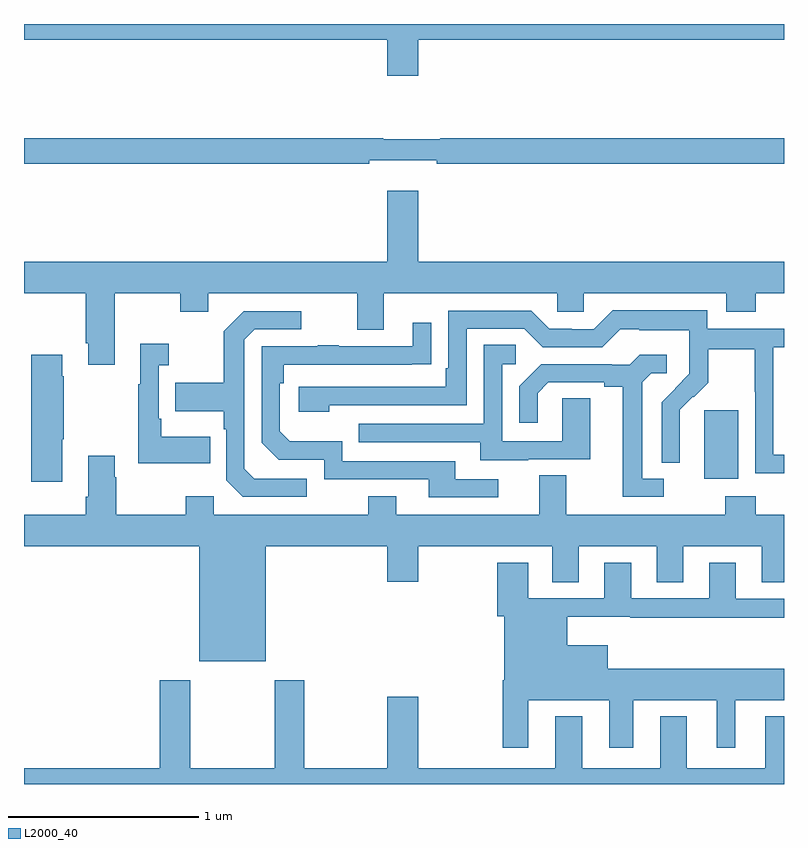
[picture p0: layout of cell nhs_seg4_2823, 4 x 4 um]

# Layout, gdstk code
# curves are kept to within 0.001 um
import gdstk
lib = gdstk.Library(unit=1e-6, precision=1e-09)
def R(c, l, rs):  # rectangles x0, y0, x1, y1
    for r in rs: c.add(gdstk.rectangle(r[:2], r[2:], *l))
def P(c, l, *ps):  # polygons
    for p in ps: c.add(gdstk.Polygon(p, *l))
L2000_40 = (2000, 40)

nhs_seg4_2823 = lib.new_cell('nhs_seg4_2823')
R(nhs_seg4_2823, L2000_40, [(262.58,798.506,262.759,798.867)])
P(nhs_seg4_2823, L2000_40, [(261.076,800.816),(263,800.816),(263,800.9),(259,800.9),(259,800.816),(260.912,800.816),(260.912,800.628),(261.076,800.628)],
  [(260.816,800.183),(261.172,800.183),(261.172,800.164),(263,800.164),(263,800.3),(261.19,800.3),(261.19,800.293),(260.89,800.293),(260.89,800.3),(259,800.3),(259,800.164),(260.816,800.164)],
  [(259.477,799.484),(259.822,799.484),(259.822,799.385),(259.969,799.385),(259.969,799.484),(260.753,799.484),(260.753,799.29),(260.893,799.29),(260.893,799.484),(261.807,799.484),(261.807,799.386),(261.945,799.386),(261.945,799.484),(262.697,799.484),(262.697,799.385),(262.85,799.385),(262.85,799.484),(263,799.484),(263,799.648),(261.076,799.648),(261.076,800.023),(260.912,800.023),(260.912,799.648),(259,799.648),(259,799.484),(259.325,799.484),(259.325,799.219),(259.337,799.219),(259.337,799.107),(259.477,799.107)],
  [(263,798.633),(262.944,798.633),(262.944,799.2),(263,799.2),(263,799.296),(262.596,799.296),(262.596,799.393),(262.099,799.393),(261.999,799.293),(261.884,799.293),(261.884,799.296),(261.765,799.296),(261.669,799.392),(261.234,799.392),(261.234,799.087),(261.221,799.087),(261.221,798.99),(260.445,798.99),(260.445,798.86),(260.606,798.86),(260.606,798.894),(261.33,798.894),(261.33,799.296),(261.633,799.296),(261.729,799.2),(262.044,799.2),(262.137,799.293),(262.237,799.293),(262.237,799.289),(262.5,799.289),(262.5,799.155),(262.502,799.155),(262.502,799.058),(262.356,798.91),(262.356,798.592),(262.452,798.592),(262.451,798.869),(262.521,798.939),(262.524,798.936),(262.601,799.013),(262.601,799.188),(262.846,799.188),(262.846,798.964),(262.848,798.964),(262.848,798.535),(263,798.535)],
  [(260.488,798.507),(260.211,798.507),(260.16,798.558),(260.16,799.239),(260.214,799.293),(260.458,799.293),(260.458,799.389),(260.157,799.389),(260.052,799.283),(260.052,799.011),(259.795,799.011),(259.795,798.863),(260.052,798.863),(260.052,798.767),(260.064,798.767),(260.064,798.498),(260.151,798.411),(260.488,798.411)],
  [(261.496,798.504),(261.271,798.504),(261.271,798.6),(260.676,798.6),(260.676,798.703),(260.399,798.703),(260.346,798.756),(260.346,799.01),(260.366,799.01),(260.366,799.107),(261.143,799.108),(261.143,799.327),(261.047,799.327),(261.047,799.203),(260.657,799.203),(260.657,799.208),(260.545,799.208),(260.545,799.203),(260.25,799.203),(260.25,798.696),(260.34,798.606),(260.58,798.606),(260.58,798.504),(261.131,798.504),(261.131,798.408),(261.496,798.408)],
  [(259.979,798.727),(259.723,798.727),(259.723,798.823),(259.71,798.823),(259.71,799.103),(259.762,799.103),(259.762,799.216),(259.613,799.216),(259.613,799.003),(259.602,799.003),(259.602,798.587),(259.979,798.587)],
  [(261.655,798.609),(261.979,798.609),(261.979,798.929),(261.834,798.929),(261.834,798.705),(261.516,798.705),(261.516,799.11),(261.589,799.11),(261.589,799.211),(261.42,799.211),(261.42,798.795),(260.761,798.795),(260.761,798.699),(261.401,798.699),(261.401,798.605),(261.655,798.605)],
  [(262.366,798.507),(262.255,798.507),(262.255,799.015),(262.302,799.062),(262.384,799.062),(262.384,799.159),(262.24,799.159),(262.188,799.107),(262.094,799.107),(262.094,799.11),(261.722,799.11),(261.606,798.994),(261.606,798.801),(261.703,798.801),(261.703,798.957),(261.76,799.014),(262.055,799.014),(262.055,798.992),(262.151,798.992),(262.151,798.411),(262.366,798.411)],
  [(259.201,798.715),(259.209,798.715),(259.209,799.046),(259.201,799.046),(259.201,799.159),(259.039,799.159),(259.039,798.492),(259.201,798.492)],
  [(260.272,798.152),(260.912,798.152),(260.912,797.964),(261.076,797.964),(261.076,798.152),(261.779,798.152),(261.779,797.962),(261.919,797.962),(261.919,798.152),(262.331,798.152),(262.331,797.962),(262.471,797.962),(262.471,798.152),(262.883,798.152),(262.883,797.962),(263,797.962),(263,798.316),(262.85,798.316),(262.85,798.415),(262.69,798.415),(262.69,798.316),(261.853,798.316),(261.853,798.524),(261.713,798.524),(261.713,798.316),(260.959,798.316),(260.959,798.415),(260.812,798.415),(260.812,798.316),(259.998,798.316),(259.998,798.415),(259.852,798.415),(259.852,798.316),(259.485,798.316),(259.485,798.515),(259.477,798.515),(259.477,798.628),(259.337,798.628),(259.337,798.412),(259.325,798.412),(259.325,798.316),(259,798.316),(259,798.152),(259.922,798.152),(259.922,797.546),(260.272,797.546)],
  [(261.655,797.342),(262.079,797.342),(262.079,797.091),(262.207,797.091),(262.207,797.342),(262.646,797.342),(262.646,797.091),(262.744,797.091),(262.744,797.342),(263,797.342),(263,797.506),(262.072,797.506),(262.072,797.629),(261.859,797.629),(261.859,797.78),(262.191,797.78),(262.191,797.776),(262.843,797.776),(262.843,797.774),(263,797.774),(263,797.874),(262.747,797.874),(262.747,798.064),(262.607,798.064),(262.607,797.877),(262.195,797.877),(262.195,798.064),(262.055,798.064),(262.055,797.877),(261.655,797.877),(261.655,798.064),(261.491,798.064),(261.491,797.784),(261.527,797.784),(261.527,797.446),(261.52,797.446),(261.52,797.091),(261.655,797.091)],
  [(263,797.257),(262.901,797.257),(262.901,796.984),(262.489,796.984),(262.489,797.257),(262.349,797.257),(262.349,796.984),(261.937,796.984),(261.937,797.257),(261.797,797.257),(261.797,796.984),(261.076,796.984),(261.076,797.359),(260.912,797.359),(260.912,796.984),(260.475,796.984),(260.475,797.446),(260.32,797.446),(260.32,796.984),(259.875,796.984),(259.875,797.446),(259.715,797.446),(259.715,796.984),(259,796.984),(259,796.9),(263,796.9)])

lib.write_gds('nhs_seg4_2823.gds')
